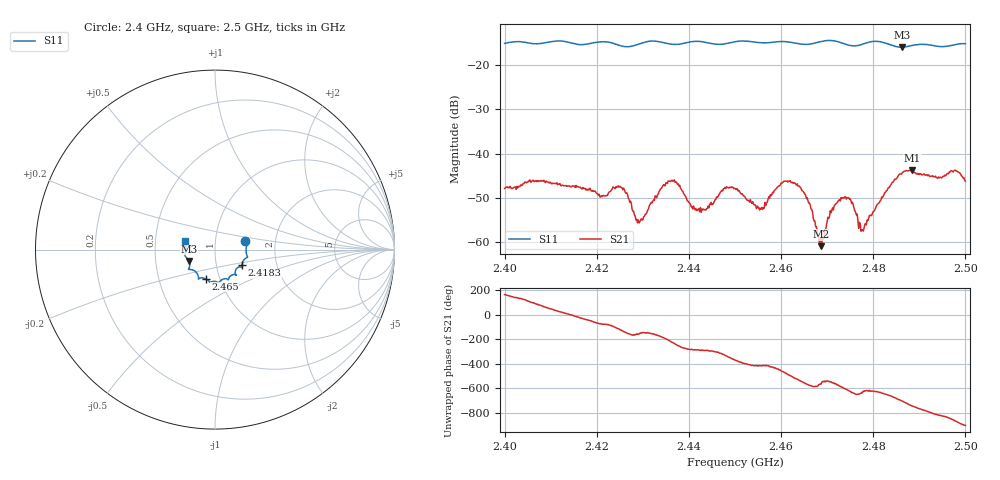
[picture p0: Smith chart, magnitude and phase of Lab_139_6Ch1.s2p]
# Hz S RI R 50
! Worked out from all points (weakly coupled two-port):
!   601 points, 2.4 GHz to 2.5 GHz, reference 50 ohm
!   highest |S21| = -43.71 dB at 2.4885 GHz (marker M1); lowest = -60.9 dB at 2.4687 GHz (marker M2)
!   lowest |S11| = -16.0 dB at 2.4862 GHz (marker M3), VSWR 1.37, Z = 37.1 - j4.82 ohm
!   |S11| at or under -10 dB: start of sweep to end of sweep
!   S12 and S22 are empty: the file has one direction only
!   S11 on the Smith chart (normalised r, x): 2.4 GHz: 1.40, +0.13; 2.4183 GHz: 1.33, -0.24; 2.465 GHz: 0.86, -0.29; 2.5 GHz: 0.71, +0.07
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2.4e9  0.1688 0.0458  -0.00389 0.00107  0 0  0 0
2.416667e9  0.1548 -0.0681  0.00349 -0.00196  0 0  0 0
2.418333e9  0.1499 -0.0867  0.00265 -0.00285  0 0  0 0
2.4255e9  0.1296 -0.0985  -0.00268 -0.00312  0 0  0 0
2.429e9  0.1122 -0.1288  -0.00166 -0.000675  0 0  0 0
2.433333e9  0.1168 -0.1412  -0.00345 -0.000541  0 0  0 0
2.436833e9  0.0916 -0.1434  -0.00284 0.00417  0 0  0 0
2.440833e9  0.075 -0.1674  0.000688 0.00227  0 0  0 0
2.443167e9  0.0714 -0.1668  0.000889 0.00219  0 0  0 0
2.45e9  0.0252 -0.1806  0.00399 -0.000703  0 0  0 0
2.455833e9  0.000476 -0.1775  0.00127 -0.00212  0 0  0 0
2.4605e9  -0.0292 -0.1811  -0.00142 -0.00461  0 0  0 0
2.465e9  -0.0528 -0.162  -0.00344 0.00114  0 0  0 0
2.466667e9  -0.0714 -0.1575  -0.0017 0.00162  0 0  0 0
2.468667e9  -0.0881 -0.161  -0.000805 0.000411  0 0  0 0
2.472833e9  -0.0923 -0.154  -0.00203 0.00211  0 0  0 0
2.475e9  -0.1017 -0.1303  -0.000141 0.0031  0 0  0 0
2.477833e9  -0.1312 -0.1113  -0.000119 0.00133  0 0  0 0
2.483333e9  -0.142 -0.0958  0.00195 0.00365  0 0  0 0
2.486167e9  -0.1446 -0.0633  0.00563 0.00163  0 0  0 0
2.4885e9  -0.1601 -0.0434  0.00579 -0.003  0 0  0 0
2.5e9  -0.167 0.0474  -0.00487 0.000448  0 0  0 0
